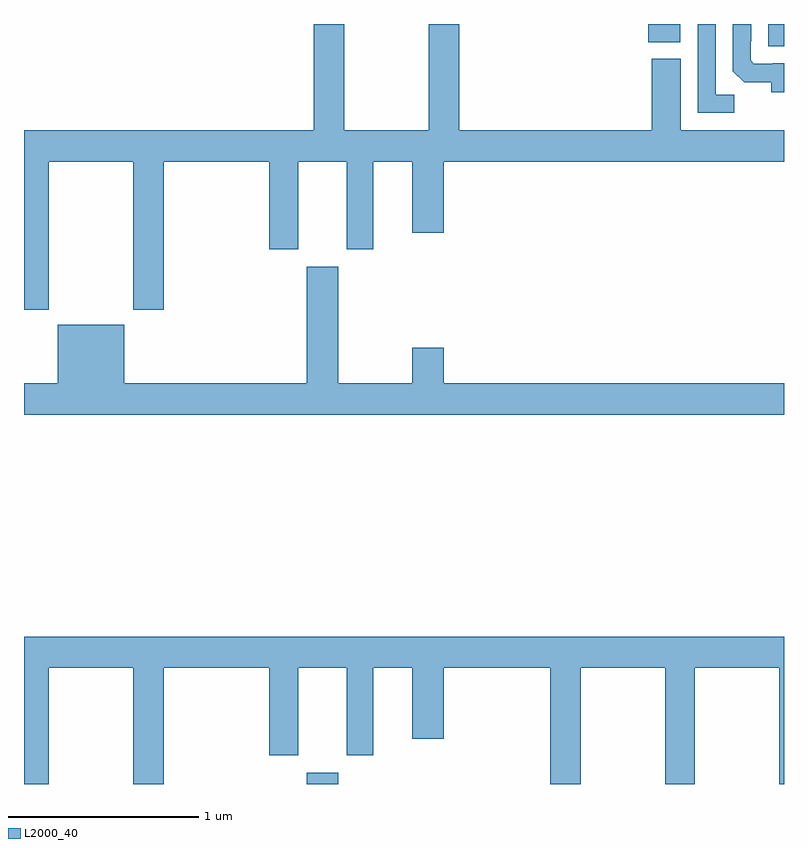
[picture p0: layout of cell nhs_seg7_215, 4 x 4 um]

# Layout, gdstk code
import gdstk
lib = gdstk.Library(unit=1e-6, precision=1e-09)
def R(c, l, rs):  # rectangles x0, y0, x1, y1
    for r in rs: c.add(gdstk.rectangle(r[:2], r[2:], *l))
def P(c, l, *ps):  # polygons
    for p in ps: c.add(gdstk.Polygon(p, *l))
L2000_40 = (2000, 40)

nhs_seg7_215 = lib.new_cell('nhs_seg7_215')
R(nhs_seg7_215, L2000_40, [(128.489,1004,128.653,1004.059), (130.917,1007.883,131,1008), (130.286,1007.903,130.453,1008)])
P(nhs_seg7_215, L2000_40, [(131,1007.794),(130.942,1007.794),(130.942,1007.79),(130.842,1007.79),(130.824,1007.808),(130.824,1007.908),(130.827,1007.908),(130.827,1008),(130.731,1008),(130.731,1007.752),(130.79,1007.693),(130.934,1007.693),(130.934,1007.642),(131,1007.642)],
  [(130.737,1007.627),(130.641,1007.627),(130.641,1008),(130.545,1008),(130.545,1007.532),(130.737,1007.532)],
  [(127.131,1007.276),(127.576,1007.276),(127.576,1006.497),(127.736,1006.497),(127.736,1007.276),(128.291,1007.276),(128.291,1006.815),(128.443,1006.815),(128.443,1007.276),(128.699,1007.276),(128.699,1006.815),(128.839,1006.815),(128.839,1007.276),(129.044,1007.276),(129.044,1006.902),(129.208,1006.902),(129.208,1007.276),(131,1007.276),(131,1007.44),(130.456,1007.44),(130.456,1007.818),(130.304,1007.818),(130.304,1007.44),(129.29,1007.44),(129.29,1008),(129.13,1008),(129.13,1007.44),(128.685,1007.44),(128.685,1008),(128.525,1008),(128.525,1007.44),(127,1007.44),(127,1006.497),(127.131,1006.497)],
  [(131,1006.108),(129.208,1006.108),(129.208,1006.297),(129.044,1006.297),(129.044,1006.108),(128.653,1006.108),(128.653,1006.723),(128.489,1006.723),(128.489,1006.108),(127.528,1006.108),(127.528,1006.417),(127.178,1006.417),(127.178,1006.108),(127,1006.108),(127,1005.944),(131,1005.944)],
  [(127.131,1004.612),(127.576,1004.612),(127.576,1004),(127.736,1004),(127.736,1004.612),(128.291,1004.612),(128.291,1004.151),(128.443,1004.151),(128.443,1004.612),(128.699,1004.612),(128.699,1004.151),(128.839,1004.151),(128.839,1004.612),(129.044,1004.612),(129.044,1004.238),(129.208,1004.238),(129.208,1004.612),(129.77,1004.612),(129.77,1004),(129.93,1004),(129.93,1004.612),(130.375,1004.612),(130.375,1004),(130.53,1004),(130.53,1004.612),(130.975,1004.612),(130.975,1004),(131,1004),(131,1004.776),(127,1004.776),(127,1004),(127.131,1004)])

lib.write_gds('nhs_seg7_215.gds')
